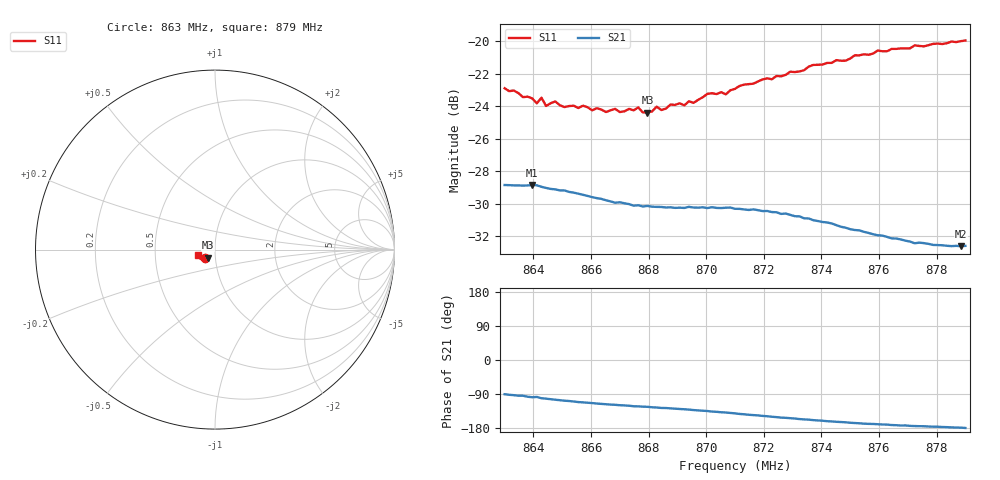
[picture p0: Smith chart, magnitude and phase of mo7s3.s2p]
# HZ S RI R 50
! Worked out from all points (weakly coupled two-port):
!   101 points, 863 MHz to 879 MHz, reference 50 ohm
!   highest |S21| = -28.84 dB at 863.96 MHz (marker M1); lowest = -32.6 dB at 878.84 MHz (marker M2)
!   lowest |S11| = -24.4 dB at 867.96 MHz (marker M3), VSWR 1.13, Z = 45.9 - j4.12 ohm
!   |S11| at or under -10 dB: start of sweep to end of sweep
!   S12 and S22 are empty: the file has one direction only
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8.63e8  -0.0564 -0.0441  -0.000205 -0.0361  0 0  0 0
8.6396e8  -0.0523 -0.0413  -0.00519 -0.0358  0 0  0 0
8.6412e8  -0.0484 -0.0424  -0.0047 -0.0357  0 0  0 0
8.6428e8  -0.05 -0.0445  -0.00675 -0.035  0 0  0 0
8.6444e8  -0.0481 -0.0409  -0.00736 -0.0346  0 0  0 0
8.6476e8  -0.0494 -0.0425  -0.00898 -0.0339  0 0  0 0
8.6508e8  -0.0457 -0.0428  -0.0104 -0.0332  0 0  0 0
8.6572e8  -0.0444 -0.0451  -0.0125 -0.0313  0 0  0 0
8.6652e8  -0.0417 -0.0438  -0.0146 -0.029  0 0  0 0
8.6764e8  -0.0425 -0.0459  -0.0168 -0.0265  0 0  0 0
8.6796e8  -0.0404 -0.0447  -0.0172 -0.026  0 0  0 0
8.6828e8  -0.0407 -0.0479  -0.0179 -0.0252  0 0  0 0
8.6844e8  -0.0394 -0.0471  -0.0184 -0.0249  0 0  0 0
8.6876e8  -0.0405 -0.0493  -0.0188 -0.0245  0 0  0 0
8.6956e8  -0.0409 -0.0499  -0.0207 -0.0229  0 0  0 0
8.7004e8  -0.043 -0.0537  -0.0216 -0.0219  0 0  0 0
8.7068e8  -0.0426 -0.0537  -0.0231 -0.0203  0 0  0 0
8.71e8  -0.0452 -0.0551  -0.0237 -0.0193  0 0  0 0
8.7372e8  -0.0597 -0.0597  -0.0263 -0.0102  0 0  0 0
8.7644e8  -0.0796 -0.0509  -0.0245 -0.0036  0 0  0 0
8.7884e8  -0.0935 -0.0351  -0.0234 -0.000619  0 0  0 0
8.79e8  -0.095 -0.0324  -0.0235 -0.000251  0 0  0 0
